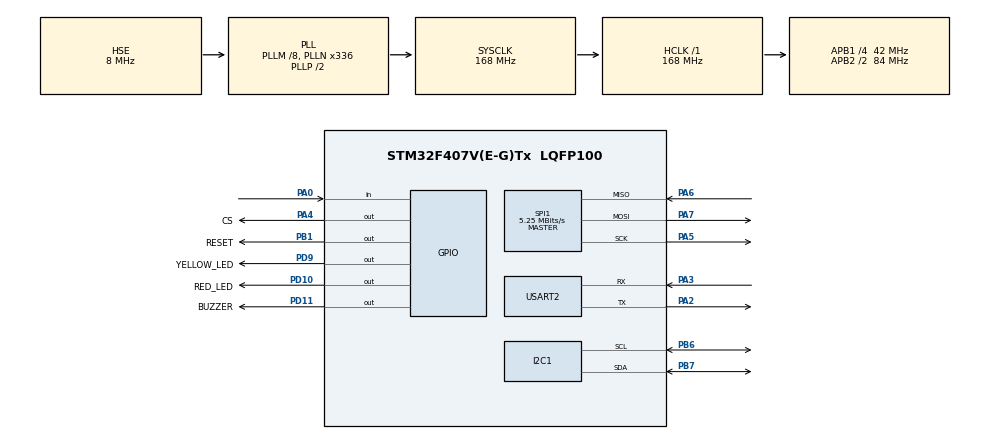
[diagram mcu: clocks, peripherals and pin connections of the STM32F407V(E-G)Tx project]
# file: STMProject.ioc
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Mcu.Family=STM32F4
Mcu.Name=STM32F407V(E-G)Tx
Mcu.Package=LQFP100
NVIC.PriorityGroup=NVIC_PRIORITYGROUP_4
NVIC.USART2_IRQn=true\:0\:0\:false\:false\:true\:true\:true\:true
PA0-WKUP.GPIO_PuPd=GPIO_NOPULL
PA0-WKUP.Signal=GPIO_Input
PA13.Mode=Serial_Wire
PA13.Signal=SYS_JTMS-SWDIO
PA14.Mode=Serial_Wire
PA14.Signal=SYS_JTCK-SWCLK
PA2.Mode=Asynchronous
PA2.Signal=USART2_TX
PA3.Mode=Asynchronous
PA3.Signal=USART2_RX
PA4.GPIO_Label=CS
PA4.Signal=GPIO_Output
PA5.Mode=Full_Duplex_Master
PA5.Signal=SPI1_SCK
PA6.Mode=Full_Duplex_Master
PA6.Signal=SPI1_MISO
PA7.Mode=Full_Duplex_Master
PA7.Signal=SPI1_MOSI
PA8.Signal=S_TIM1_CH1
PB1.GPIO_Label=RESET
PB1.Signal=GPIO_Output
PB6.Mode=I2C
PB6.Signal=I2C1_SCL
PB7.Mode=I2C
PB7.Signal=I2C1_SDA
PD10.GPIO_Label=RED_LED
PD10.Signal=GPIO_Output
PD11.GPIO_Label=BUZZER
PD11.Signal=GPIO_Output
PD9.GPIO_Label=YELLOW_LED
PD9.Signal=GPIO_Output
PH0-OSC_IN.Mode=HSE-External-Oscillator
PH0-OSC_IN.Signal=RCC_OSC_IN
PH1-OSC_OUT.Mode=HSE-External-Oscillator
PH1-OSC_OUT.Signal=RCC_OSC_OUT
ProjectManager.HeapSize=0x200
ProjectManager.StackSize=0x400
ProjectManager.TargetToolchain=STM32CubeIDE
RCC.48MHZClocksFreq_Value=48000000
RCC.AHBFreq_Value=168000000
RCC.APB1CLKDivider=RCC_HCLK_DIV4
RCC.APB1Freq_Value=42000000
RCC.APB1TimFreq_Value=84000000
RCC.APB2Freq_Value=84000000
RCC.APB2TimFreq_Value=168000000
RCC.CortexFreq_Value=168000000
RCC.HCLKFreq_Value=168000000
RCC.HSE_VALUE=8000000
RCC.HSI_VALUE=16000000
RCC.LSE_VALUE=32768
RCC.PLLM=8
RCC.PLLN=336
RCC.SYSCLKFreq_VALUE=168000000
RCC.SYSCLKSource=RCC_SYSCLKSOURCE_PLLCLK
RCC.VCOOutputFreq_Value=336000000
SH.S_TIM1_CH1.0=TIM1_CH1
SPI1.BaudRatePrescaler=SPI_BAUDRATEPRESCALER_16
SPI1.CalculateBaudRate=5.25 MBits/s
SPI1.Direction=SPI_DIRECTION_2LINES
SPI1.Mode=SPI_MODE_MASTER
SPI1.VirtualType=VM_MASTER
USART2.VirtualMode=VM_ASYNC
board=custom
RCC.APB2CLKDivider=RCC_HCLK_DIV2
RCC.PLLQ=7

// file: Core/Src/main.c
/**
 * Smart Parking prototype: STM32F407VG + MFRC522 + LCD1602 + UART.
 * PC performs recognition/storage; this firmware reads UID and signals results.
 */
#include "main.h"
#include "gpio.h"
#include "i2c.h"
#include "spi.h"
#include "usart.h"
/* USER CODE BEGIN Includes */
#include "RC522.h"
#include "liquidcrystal_i2c.h"
#include <stdio.h>
#include <string.h>

/* USER CODE END Includes */

/* USER CODE BEGIN PD */
#define RX_BUFFER_SIZE 128U
#define COMMAND_QUEUE_SIZE 8U
#define USER_BTN_Pin GPIO_PIN_0
#define USER_BTN_GPIO_Port GPIOA

/* USER CODE END PD */

/* USER CODE BEGIN PV */
static uint8_t rx_byte;
static char rx_buffer[RX_BUFFER_SIZE];
static uint16_t rx_index;
static uint8_t rx_discard;
static char command_queue[COMMAND_QUEUE_SIZE][RX_BUFFER_SIZE];
static volatile uint8_t queue_head;
static volatile uint8_t queue_tail;
static volatile uint8_t queue_overflow;
static uint8_t parking_mode;
static uint8_t transaction_active;
static uint8_t signal_active;
static uint32_t signal_until;
static uint32_t buzzer_until;
static char current_plate[17];

/* USER CODE END PV */

void SystemClock_Config(void);

/* USER CODE BEGIN 0 */
static void LCD_Message(const char *first, const char *second) {
    char line[17];
    HD44780_Clear();
    HD44780_SetCursor(0, 0);
    snprintf(line, sizeof(line), "%.16s", first);
    HD44780_PrintStr(line);
    HD44780_SetCursor(0, 1);
    snprintf(line, sizeof(line), "%.16s", second);
    HD44780_PrintStr(line);
}

static void LCD_ShowIdle(void) {
    LCD_Message(parking_mode ? "CHE DO: LAY XE" : "CHE DO: GUI XE", "Moi quet the...");
}

static void Reset_Transaction(void) {
    transaction_active = 0;
    signal_active = 0;
    current_plate[0] = '\0';
    HAL_GPIO_WritePin(GPIOD, YELLOW_LED_Pin | RED_LED_Pin | BUZZER_Pin, GPIO_PIN_RESET);
    LCD_ShowIdle();
}

static void Process_PC_Command(const char *cmd) {
    if (strcmp(cmd, "CMD:RESET") == 0) {
        Reset_Transaction();
    } else if (strcmp(cmd, "CMD:SCAN_PLATE") == 0) {
        signal_active = 0;
        HAL_GPIO_WritePin(GPIOD, YELLOW_LED_Pin | RED_LED_Pin | BUZZER_Pin, GPIO_PIN_RESET);
        transaction_active = 1;
        current_plate[0] = '\0';
        LCD_Message("Dang quet BS...", "");
    } else if (strncmp(cmd, "CMD:PLATE:", 10) == 0) {
        snprintf(current_plate, sizeof(current_plate), "%.16s", cmd + 10);
        LCD_Message("Bien so:", current_plate);
    } else if (strcmp(cmd, "CMD:SCAN_FACE") == 0) {
        LCD_Message(current_plate, "Dang quet mat...");
    } else if (strcmp(cmd, "CMD:MASK_WARN") == 0) {
        LCD_Message(current_plate, "Thao khau trang!");
    } else if (strcmp(cmd, "CMD:FACE_OK") == 0) {
        LCD_Message(current_plate, "Da nhan dien mat");
    } else if (strcmp(cmd, "CMD:SUCCESS") == 0) {
        transaction_active = 0;
        signal_active = 1;
        signal_until = HAL_GetTick() + 3000;
        HAL_GPIO_WritePin(YELLOW_LED_GPIO_Port, YELLOW_LED_Pin, GPIO_PIN_SET);
        HAL_GPIO_WritePin(RED_LED_GPIO_Port, RED_LED_Pin, GPIO_PIN_RESET);
        HAL_GPIO_WritePin(BUZZER_GPIO_Port, BUZZER_Pin, GPIO_PIN_RESET);
        LCD_Message(parking_mode ? "HEN GAP LAI" : "WELCOME!", "");
    } else if (strncmp(cmd, "CMD:ERROR:", 10) == 0) {
        signal_active = 1;
        signal_until = HAL_GetTick() + 3000;
        buzzer_until = HAL_GetTick() + 500;
        HAL_GPIO_WritePin(YELLOW_LED_GPIO_Port, YELLOW_LED_Pin, GPIO_PIN_RESET);
        HAL_GPIO_WritePin(RED_LED_GPIO_Port, RED_LED_Pin, GPIO_PIN_SET);
        HAL_GPIO_WritePin(BUZZER_GPIO_Port, BUZZER_Pin, GPIO_PIN_SET);
        LCD_Message("LOI XAY RA!", cmd + 10);
    }
}

/* The IRQ owns rx_buffer. Completed lines are copied to a bounded FIFO so
 * receiving the next line cannot overwrite a command being processed by main.
 * Oversized lines are discarded completely, including their truncated tail.
 */
void HAL_UART_RxCpltCallback(UART_HandleTypeDef *huart) {
    if (huart->Instance != USART2) return;
    if (rx_byte == '\n' || rx_byte == '\r') {
        if (rx_index && !rx_discard) {
            uint8_t next = (uint8_t)((queue_head + 1U) % COMMAND_QUEUE_SIZE);
            rx_buffer[rx_index] = '\0';
            if (next != queue_tail) {
                memcpy(command_queue[queue_head], rx_buffer, rx_index + 1U);
                __DMB();
                queue_head = next;
            } else {
                queue_overflow = 1;
            }
        }
        rx_index = 0;
        rx_discard = 0;
    } else if (!rx_discard) {
        if (rx_index < RX_BUFFER_SIZE - 1U) rx_buffer[rx_index++] = (char)rx_byte;
        else rx_discard = 1;
    }
    HAL_UART_Receive_IT(&huart2, &rx_byte, 1);
}

/* USER CODE END 0 */

int main(void) {
    HAL_Init();
    SystemClock_Config();
    MX_GPIO_Init();
    MX_SPI1_Init();

    MX_USART2_UART_Init();
    MX_I2C1_Init();

    /* USER CODE BEGIN 2 */
    /* Deselect the Discovery board accelerometer sharing SPI1. */
    __HAL_RCC_GPIOE_CLK_ENABLE();
    GPIO_InitTypeDef gpio = {0};
    gpio.Pin = GPIO_PIN_3;
    gpio.Mode = GPIO_MODE_OUTPUT_PP;
    gpio.Pull = GPIO_NOPULL;
    gpio.Speed = GPIO_SPEED_FREQ_LOW;
    HAL_GPIO_Init(GPIOE, &gpio);
    HAL_GPIO_WritePin(GPIOE, GPIO_PIN_3, GPIO_PIN_SET);

    MFRC522_Init();
    HD44780_Init(2);
    HD44780_Backlight();
    LCD_ShowIdle();
    HAL_UART_Receive_IT(&huart2, &rx_byte, 1);

    uint8_t last_button = 0;
    uint8_t stable_button = 0;
    uint32_t button_changed = HAL_GetTick();
    uint32_t last_rfid_poll = 0;
    char command[RX_BUFFER_SIZE];

    /* USER CODE END 2 */

    while (1) {
        /* USER CODE BEGIN 3 */
        /* Interrupts stay enabled: the IRQ never writes the slot at tail until
         * main advances tail, so copying a completed command is safe here.
         */
        if (queue_tail != queue_head) {
            __DMB();
            memcpy(command, command_queue[queue_tail], sizeof(command));
            __DMB();
            queue_tail = (uint8_t)((queue_tail + 1U) % COMMAND_QUEUE_SIZE);
            Process_PC_Command(command);
        }
        if (queue_overflow) {
            queue_overflow = 0;
            const char warning[] = "WARN:UART_QUEUE_FULL\n";
            HAL_UART_Transmit(&huart2, (uint8_t *)warning, sizeof(warning) - 1U, 100);
        }

        uint32_t now = HAL_GetTick();
        if ((int32_t)(now - buzzer_until) >= 0)
            HAL_GPIO_WritePin(BUZZER_GPIO_Port, BUZZER_Pin, GPIO_PIN_RESET);
        if (signal_active && (int32_t)(now - signal_until) >= 0) {
            signal_active = 0;
            HAL_GPIO_WritePin(GPIOD, YELLOW_LED_Pin | RED_LED_Pin, GPIO_PIN_RESET);
            if (transaction_active) LCD_Message(current_plate, "Quet lai / Reset");
            else LCD_ShowIdle();
        }

        /* Debounced rising edge: holding PA0 cannot repeatedly toggle mode. */
        uint8_t button = HAL_GPIO_ReadPin(USER_BTN_GPIO_Port, USER_BTN_Pin) == GPIO_PIN_SET;
        if (button != last_button) { last_button = button; button_changed = now; }
        if (button != stable_button && now - button_changed >= 50U) {
            stable_button = button;
            if (button && !transaction_active && !signal_active) {
                parking_mode = !parking_mode;
                LCD_ShowIdle();
                const char *mode = parking_mode ? "MODE:OUT\n" : "MODE:IN\n";
                HAL_UART_Transmit(&huart2, (uint8_t *)mode, strlen(mode), 100);
            }
        }

        if (!transaction_active && !signal_active && now - last_rfid_poll >= 50U) {
            last_rfid_poll = now;
            uint8_t uid[MAX_LEN];
            if (MFRC522_Request(PICC_REQIDL, uid) == MI_OK && MFRC522_Anticoll(uid) == MI_OK) {
                char uid_line[17], message[64];
                snprintf(uid_line, sizeof(uid_line), "UID: %02X%02X%02X%02X", uid[0], uid[1], uid[2], uid[3]);
                LCD_Message("Quet thanh cong!", uid_line);
                snprintf(message, sizeof(message), "UID:%02X%02X%02X%02X|MODE:%s\n",
                         uid[0], uid[1], uid[2], uid[3], parking_mode ? "OUT" : "IN");
                HAL_UART_Transmit(&huart2, (uint8_t *)message, strlen(message), 100);
                HAL_GPIO_WritePin(BUZZER_GPIO_Port, BUZZER_Pin, GPIO_PIN_SET);
                buzzer_until = HAL_GetTick() + 100;
                MFRC522_Halt();
            }
        }
    }
    /* USER CODE END 3 */
}

void Error_Handler(void) {
    __disable_irq();
    while (1) {}
}

void SystemClock_Config(void)
{
  RCC_OscInitTypeDef RCC_OscInitStruct = {0};
  RCC_ClkInitTypeDef RCC_ClkInitStruct = {0};

  /** Configure the main internal regulator output voltage
  */
  __HAL_RCC_PWR_CLK_ENABLE();
  __HAL_PWR_VOLTAGESCALING_CONFIG(PWR_REGULATOR_VOLTAGE_SCALE1);

  /** Initializes the RCC Oscillators according to the specified parameters
  * in the RCC_OscInitTypeDef structure.
  */
  RCC_OscInitStruct.OscillatorType = RCC_OSCILLATORTYPE_HSE;
  RCC_OscInitStruct.HSEState = RCC_HSE_ON;
  RCC_OscInitStruct.PLL.PLLState = RCC_PLL_ON;
  RCC_OscInitStruct.PLL.PLLSource = RCC_PLLSOURCE_HSE;
  RCC_OscInitStruct.PLL.PLLM = 8;
  RCC_OscInitStruct.PLL.PLLN = 336;
  RCC_OscInitStruct.PLL.PLLP = RCC_PLLP_DIV2;
  RCC_OscInitStruct.PLL.PLLQ = 7;
  if (HAL_RCC_OscConfig(&RCC_OscInitStruct) != HAL_OK)
  {
    Error_Handler();
  }

  /** Initializes the CPU, AHB and APB buses Clocks
  */
  RCC_ClkInitStruct.ClockType = RCC_CLOCKTYPE_HCLK|RCC_CLOCKTYPE_SYSCLK
                              |RCC_CLOCKTYPE_PCLK1|RCC_CLOCKTYPE_PCLK2;
  RCC_ClkInitStruct.SYSCLKSource = RCC_SYSCLKSOURCE_PLLCLK;
  RCC_ClkInitStruct.AHBCLKDivider = RCC_SYSCLK_DIV1;
  RCC_ClkInitStruct.APB1CLKDivider = RCC_HCLK_DIV4;
  RCC_ClkInitStruct.APB2CLKDivider = RCC_HCLK_DIV2;

  if (HAL_RCC_ClockConfig(&RCC_ClkInitStruct, FLASH_LATENCY_5) != HAL_OK)
  {
    Error_Handler();
  }
}
/* USER CODE END 4 */
